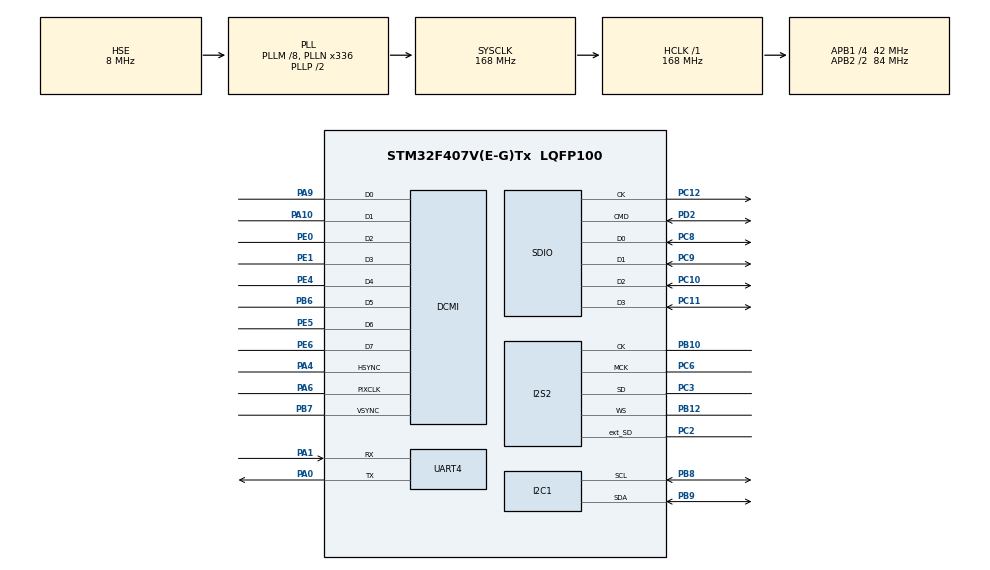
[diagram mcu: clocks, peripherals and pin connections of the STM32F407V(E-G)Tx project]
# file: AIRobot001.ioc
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Dma.Request0=SDIO_RX
Dma.Request1=SDIO_TX
Dma.SDIO_RX.0.Direction=DMA_PERIPH_TO_MEMORY
Dma.SDIO_RX.0.FIFOMode=DMA_FIFOMODE_ENABLE
Dma.SDIO_RX.0.FIFOThreshold=DMA_FIFO_THRESHOLD_FULL
Dma.SDIO_RX.0.Instance=DMA2_Stream3
Dma.SDIO_RX.0.MemBurst=DMA_MBURST_INC4
Dma.SDIO_RX.0.MemDataAlignment=DMA_MDATAALIGN_WORD
Dma.SDIO_RX.0.MemInc=DMA_MINC_ENABLE
Dma.SDIO_RX.0.Mode=DMA_PFCTRL
Dma.SDIO_RX.0.PeriphBurst=DMA_PBURST_INC4
Dma.SDIO_RX.0.PeriphDataAlignment=DMA_PDATAALIGN_WORD
Dma.SDIO_RX.0.PeriphInc=DMA_PINC_DISABLE
Dma.SDIO_RX.0.Priority=DMA_PRIORITY_LOW
Dma.SDIO_TX.1.Direction=DMA_MEMORY_TO_PERIPH
Dma.SDIO_TX.1.FIFOMode=DMA_FIFOMODE_ENABLE
Dma.SDIO_TX.1.FIFOThreshold=DMA_FIFO_THRESHOLD_FULL
Dma.SDIO_TX.1.Instance=DMA2_Stream6
Dma.SDIO_TX.1.MemBurst=DMA_MBURST_INC4
Dma.SDIO_TX.1.MemDataAlignment=DMA_MDATAALIGN_WORD
Dma.SDIO_TX.1.MemInc=DMA_MINC_ENABLE
Dma.SDIO_TX.1.Mode=DMA_PFCTRL
Dma.SDIO_TX.1.PeriphBurst=DMA_PBURST_INC4
Dma.SDIO_TX.1.PeriphDataAlignment=DMA_PDATAALIGN_WORD
Dma.SDIO_TX.1.PeriphInc=DMA_PINC_DISABLE
Dma.SDIO_TX.1.Priority=DMA_PRIORITY_LOW
FATFS._CODE_PAGE=936
FATFS._USE_LFN=2
FREERTOS.Tasks01=defaultTask,24,256,StartDefaultTask,Default,NULL,Dynamic,NULL,NULL
FREERTOS.configMINIMAL_STACK_SIZE=256
FREERTOS.configTOTAL_HEAP_SIZE=32768
I2S2.ErrorAudioFreq=-0.27 %
I2S2.FullDuplexMode=I2S_FULLDUPLEXMODE_ENABLE
I2S2.Instance=SPI$Index
I2S2.RealAudioFreq=7.978 KHz
I2S2.VirtualMode=I2S_MODE_MASTER
Mcu.Family=STM32F4
Mcu.Name=STM32F407V(E-G)Tx
Mcu.Package=LQFP100
NVIC.DMA2_Stream3_IRQn=true\:5\:0\:false\:false\:true\:true\:false\:true
NVIC.DMA2_Stream6_IRQn=true\:5\:0\:false\:false\:true\:true\:false\:true
NVIC.PriorityGroup=NVIC_PRIORITYGROUP_4
NVIC.SDIO_IRQn=true\:5\:0\:false\:false\:true\:true\:true\:true
NVIC.TIM1_UP_TIM10_IRQn=true\:0\:0\:false\:false\:true\:false\:false\:true
NVIC.TimeBase=TIM1_UP_TIM10_IRQn
NVIC.TimeBaseIP=TIM1
PA0-WKUP.Mode=Asynchronous
PA0-WKUP.Signal=UART4_TX
PA1.Mode=Asynchronous
PA1.Signal=UART4_RX
PA10.Mode=Slave_8_bits_External_Synchro
PA10.Signal=DCMI_D1
PA4.Mode=Slave_8_bits_External_Synchro
PA4.Signal=DCMI_HSYNC
PA6.Mode=Slave_8_bits_External_Synchro
PA6.Signal=DCMI_PIXCLK
PA9.Mode=Slave_8_bits_External_Synchro
PA9.Signal=DCMI_D0
PB10.Mode=Full_Duplex_Master
PB10.Signal=I2S2_CK
PB12.Mode=Full_Duplex_Master
PB12.Signal=I2S2_WS
PB6.Mode=Slave_8_bits_External_Synchro
PB6.Signal=DCMI_D5
PB7.Mode=Slave_8_bits_External_Synchro
PB7.Signal=DCMI_VSYNC
PB8.Mode=I2C
PB8.Signal=I2C1_SCL
PB9.Mode=I2C
PB9.Signal=I2C1_SDA
PC10.Mode=SD_4_bits_Wide_bus
PC10.Signal=SDIO_D2
PC11.Mode=SD_4_bits_Wide_bus
PC11.Signal=SDIO_D3
PC12.Mode=SD_4_bits_Wide_bus
PC12.Signal=SDIO_CK
PC2.Mode=Full_Duplex_Master
PC2.Signal=I2S2_ext_SD
PC3.Mode=Full_Duplex_Master
PC3.Signal=I2S2_SD
PC6.Mode=Master_Clock_Activated
PC6.Signal=I2S2_MCK
PC8.Mode=SD_4_bits_Wide_bus
PC8.Signal=SDIO_D0
PC9.Mode=SD_4_bits_Wide_bus
PC9.Signal=SDIO_D1
PD2.Mode=SD_4_bits_Wide_bus
PD2.Signal=SDIO_CMD
PE0.Mode=Slave_8_bits_External_Synchro
PE0.Signal=DCMI_D2
PE1.Mode=Slave_8_bits_External_Synchro
PE1.Signal=DCMI_D3
PE4.Mode=Slave_8_bits_External_Synchro
PE4.Signal=DCMI_D4
PE5.Mode=Slave_8_bits_External_Synchro
PE5.Signal=DCMI_D6
PE6.Mode=Slave_8_bits_External_Synchro
PE6.Signal=DCMI_D7
PH0-OSC_IN.Mode=HSE-External-Oscillator
PH0-OSC_IN.Signal=RCC_OSC_IN
PH1-OSC_OUT.Mode=HSE-External-Oscillator
PH1-OSC_OUT.Signal=RCC_OSC_OUT
ProjectManager.HeapSize=0x1000
ProjectManager.StackSize=0x1000
ProjectManager.TargetToolchain=MDK-ARM V5
RCC.48MHZClocksFreq_Value=48000000
RCC.AHBFreq_Value=168000000
RCC.APB1CLKDivider=RCC_HCLK_DIV4
RCC.APB1Freq_Value=42000000
RCC.APB1TimFreq_Value=84000000
RCC.APB2CLKDivider=RCC_HCLK_DIV2
RCC.APB2Freq_Value=84000000
RCC.APB2TimFreq_Value=168000000
RCC.CortexFreq_Value=168000000
RCC.HCLKFreq_Value=168000000
RCC.HSE_VALUE=8000000
RCC.HSI_VALUE=16000000
RCC.LSE_VALUE=32768
RCC.PLLM=8
RCC.PLLN=336
RCC.PLLQ=7
RCC.PLLSourceVirtual=RCC_PLLSOURCE_HSE
RCC.SYSCLKFreq_VALUE=168000000
RCC.SYSCLKSource=RCC_SYSCLKSOURCE_PLLCLK
RCC.VCOOutputFreq_Value=336000000
UART4.VirtualMode=Asynchronous
VP_FATFS_VS_SDIO.Mode=SDIO
VP_FREERTOS_VS_CMSIS_V2.Mode=CMSIS_V2
VP_SYS_VS_tim1.Mode=TIM1
board=custom

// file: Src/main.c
/* USER CODE BEGIN Header */
/**
  ******************************************************************************
  * @file           : main.c
  * @brief          : Main program body
  ******************************************************************************
  * @attention
  *
  * <h2><center>&copy; Copyright (c) 2020 STMicroelectronics.
  * All rights reserved.</center></h2>
  *
  * This software component is licensed by ST under Ultimate Liberty license
  * SLA0044, the "License"; You may not use this file except in compliance with
  * the License. You may obtain a copy of the License at:
  *                             www.st.com/SLA0044
  *
  ******************************************************************************
  */
/* USER CODE END Header */

#include "main.h"
#include "cmsis_os.h"
#include "fatfs.h"

/* USER CODE BEGIN Includes */
#include <log.h>
#include <wm8978.h>
/* USER CODE END Includes */

DCMI_HandleTypeDef hdcmi;

I2C_HandleTypeDef hi2c1;

I2S_HandleTypeDef hi2s2;

SD_HandleTypeDef hsd;
DMA_HandleTypeDef hdma_sdio_rx;
DMA_HandleTypeDef hdma_sdio_tx;

UART_HandleTypeDef huart4;

/* Definitions for defaultTask */
osThreadId_t defaultTaskHandle;
const osThreadAttr_t defaultTask_attributes = {
  .name = "defaultTask",
  .priority = (osPriority_t) osPriorityNormal,
  .stack_size = 256 * 4
};
/* USER CODE BEGIN PV */
osThreadId audioTaskHandle;
const osThreadAttr_t audioTask_attributes = {
  .name = "audioTask",
  .priority = (osPriority_t) osPriorityNormal,
  .stack_size = 128 * 4
};
/* USER CODE END PV */

void SystemClock_Config(void);
static void MX_GPIO_Init(void);
static void MX_DMA_Init(void);
static void MX_SDIO_SD_Init(void);
static void MX_UART4_Init(void);
static void MX_DCMI_Init(void);
static void MX_I2S2_Init(void);
static void MX_I2C1_Init(void);
void StartDefaultTask(void *argument);

/* USER CODE BEGIN PFP */
void AudioTask(void *argument);
/* USER CODE END PFP */

int main(void)
{

  /* MCU Configuration--------------------------------------------------------*/

  /* Reset of all peripherals, Initializes the Flash interface and the Systick. */
  HAL_Init();

  /* Configure the system clock */
  SystemClock_Config();

  /* Initialize all configured peripherals */
  MX_GPIO_Init();
  MX_DMA_Init();
  MX_SDIO_SD_Init();
  MX_UART4_Init();
  MX_FATFS_Init();
  MX_DCMI_Init();
  MX_I2S2_Init();
  MX_I2C1_Init();

  /* Init scheduler */
  osKernelInitialize();

  /* Create the thread(s) */
  /* creation of defaultTask */
  defaultTaskHandle = osThreadNew(StartDefaultTask, NULL, &defaultTask_attributes);

  /* USER CODE BEGIN RTOS_THREADS */
  /* add threads, ... */
  audioTaskHandle = osThreadNew(AudioTask, NULL, &audioTask_attributes);
  /* USER CODE END RTOS_THREADS */

  /* Start scheduler */
  osKernelStart();

  /* We should never get here as control is now taken by the scheduler */
  /* Infinite loop */
  while (1)
  {

  }
}

void SystemClock_Config(void)
{
  RCC_OscInitTypeDef RCC_OscInitStruct = {0};
  RCC_ClkInitTypeDef RCC_ClkInitStruct = {0};
  RCC_PeriphCLKInitTypeDef PeriphClkInitStruct = {0};

  /** Configure the main internal regulator output voltage
  */
  __HAL_RCC_PWR_CLK_ENABLE();
  __HAL_PWR_VOLTAGESCALING_CONFIG(PWR_REGULATOR_VOLTAGE_SCALE1);
  /** Initializes the CPU, AHB and APB busses clocks
  */
  RCC_OscInitStruct.OscillatorType = RCC_OSCILLATORTYPE_HSE;
  RCC_OscInitStruct.HSEState = RCC_HSE_ON;
  RCC_OscInitStruct.PLL.PLLState = RCC_PLL_ON;
  RCC_OscInitStruct.PLL.PLLSource = RCC_PLLSOURCE_HSE;
  RCC_OscInitStruct.PLL.PLLM = 8;
  RCC_OscInitStruct.PLL.PLLN = 336;
  RCC_OscInitStruct.PLL.PLLP = RCC_PLLP_DIV2;
  RCC_OscInitStruct.PLL.PLLQ = 7;
  if (HAL_RCC_OscConfig(&RCC_OscInitStruct) != HAL_OK)
  {
    Error_Handler();
  }
  /** Initializes the CPU, AHB and APB busses clocks
  */
  RCC_ClkInitStruct.ClockType = RCC_CLOCKTYPE_HCLK|RCC_CLOCKTYPE_SYSCLK
                              |RCC_CLOCKTYPE_PCLK1|RCC_CLOCKTYPE_PCLK2;
  RCC_ClkInitStruct.SYSCLKSource = RCC_SYSCLKSOURCE_PLLCLK;
  RCC_ClkInitStruct.AHBCLKDivider = RCC_SYSCLK_DIV1;
  RCC_ClkInitStruct.APB1CLKDivider = RCC_HCLK_DIV4;
  RCC_ClkInitStruct.APB2CLKDivider = RCC_HCLK_DIV2;

  if (HAL_RCC_ClockConfig(&RCC_ClkInitStruct, FLASH_LATENCY_5) != HAL_OK)
  {
    Error_Handler();
  }
  PeriphClkInitStruct.PeriphClockSelection = RCC_PERIPHCLK_I2S;
  PeriphClkInitStruct.PLLI2S.PLLI2SN = 192;
  PeriphClkInitStruct.PLLI2S.PLLI2SR = 2;
  if (HAL_RCCEx_PeriphCLKConfig(&PeriphClkInitStruct) != HAL_OK)
  {
    Error_Handler();
  }
}

static void MX_DCMI_Init(void)
{

  hdcmi.Instance = DCMI;
  hdcmi.Init.SynchroMode = DCMI_SYNCHRO_HARDWARE;
  hdcmi.Init.PCKPolarity = DCMI_PCKPOLARITY_FALLING;
  hdcmi.Init.VSPolarity = DCMI_VSPOLARITY_LOW;
  hdcmi.Init.HSPolarity = DCMI_HSPOLARITY_LOW;
  hdcmi.Init.CaptureRate = DCMI_CR_ALL_FRAME;
  hdcmi.Init.ExtendedDataMode = DCMI_EXTEND_DATA_8B;
  hdcmi.Init.JPEGMode = DCMI_JPEG_DISABLE;
  if (HAL_DCMI_Init(&hdcmi) != HAL_OK)
  {
    Error_Handler();
  }

}

static void MX_I2C1_Init(void)
{

  hi2c1.Instance = I2C1;
  hi2c1.Init.ClockSpeed = 100000;
  hi2c1.Init.DutyCycle = I2C_DUTYCYCLE_2;
  hi2c1.Init.OwnAddress1 = 0;
  hi2c1.Init.AddressingMode = I2C_ADDRESSINGMODE_7BIT;
  hi2c1.Init.DualAddressMode = I2C_DUALADDRESS_DISABLE;
  hi2c1.Init.OwnAddress2 = 0;
  hi2c1.Init.GeneralCallMode = I2C_GENERALCALL_DISABLE;
  hi2c1.Init.NoStretchMode = I2C_NOSTRETCH_DISABLE;
  if (HAL_I2C_Init(&hi2c1) != HAL_OK)
  {
    Error_Handler();
  }

}

static void MX_I2S2_Init(void)
{

  hi2s2.Instance = SPI2;
  hi2s2.Init.Mode = I2S_MODE_MASTER_TX;
  hi2s2.Init.Standard = I2S_STANDARD_PHILIPS;
  hi2s2.Init.DataFormat = I2S_DATAFORMAT_16B;
  hi2s2.Init.MCLKOutput = I2S_MCLKOUTPUT_ENABLE;
  hi2s2.Init.AudioFreq = I2S_AUDIOFREQ_8K;
  hi2s2.Init.CPOL = I2S_CPOL_LOW;
  hi2s2.Init.ClockSource = I2S_CLOCK_PLL;
  hi2s2.Init.FullDuplexMode = I2S_FULLDUPLEXMODE_ENABLE;
  if (HAL_I2S_Init(&hi2s2) != HAL_OK)
  {
    Error_Handler();
  }

}

static void MX_SDIO_SD_Init(void)
{

  hsd.Instance = SDIO;
  hsd.Init.ClockEdge = SDIO_CLOCK_EDGE_RISING;
  hsd.Init.ClockBypass = SDIO_CLOCK_BYPASS_DISABLE;
  hsd.Init.ClockPowerSave = SDIO_CLOCK_POWER_SAVE_DISABLE;
  hsd.Init.BusWide = SDIO_BUS_WIDE_1B;
  hsd.Init.HardwareFlowControl = SDIO_HARDWARE_FLOW_CONTROL_DISABLE;
  hsd.Init.ClockDiv = 0;

}

static void MX_UART4_Init(void)
{

  huart4.Instance = UART4;
  huart4.Init.BaudRate = 115200;
  huart4.Init.WordLength = UART_WORDLENGTH_8B;
  huart4.Init.StopBits = UART_STOPBITS_1;
  huart4.Init.Parity = UART_PARITY_NONE;
  huart4.Init.Mode = UART_MODE_TX_RX;
  huart4.Init.HwFlowCtl = UART_HWCONTROL_NONE;
  huart4.Init.OverSampling = UART_OVERSAMPLING_16;
  if (HAL_UART_Init(&huart4) != HAL_OK)
  {
    Error_Handler();
  }

}

static void MX_DMA_Init(void)
{

  /* DMA controller clock enable */
  __HAL_RCC_DMA2_CLK_ENABLE();

  /* DMA interrupt init */
  /* DMA2_Stream3_IRQn interrupt configuration */
  HAL_NVIC_SetPriority(DMA2_Stream3_IRQn, 5, 0);
  HAL_NVIC_EnableIRQ(DMA2_Stream3_IRQn);
  /* DMA2_Stream6_IRQn interrupt configuration */
  HAL_NVIC_SetPriority(DMA2_Stream6_IRQn, 5, 0);
  HAL_NVIC_EnableIRQ(DMA2_Stream6_IRQn);

}

static void MX_GPIO_Init(void)
{

  /* GPIO Ports Clock Enable */
  __HAL_RCC_GPIOE_CLK_ENABLE();
  __HAL_RCC_GPIOH_CLK_ENABLE();
  __HAL_RCC_GPIOC_CLK_ENABLE();
  __HAL_RCC_GPIOA_CLK_ENABLE();
  __HAL_RCC_GPIOB_CLK_ENABLE();
  __HAL_RCC_GPIOD_CLK_ENABLE();

}

/* USER CODE BEGIN 4 */
void AudioTask(void *argument)
{
    LOG(EDEBUG, "WM8978_Init before");
    if (WM8978_Init()) {
        LOG(EDEBUG, "WM8978 error");
        return ;
    }
    LOG(EDEBUG, "WM8978_Init end");
    for(;;)
    {
        LOG(EINFO, "WM8978 success");
        osDelay(1000);
    }
}
/* USER CODE END 4 */

void StartDefaultTask(void *argument)
{
  /* USER CODE BEGIN 5 */
    /* Infinite loop */
    // 初始化文件系统
    retSD = f_mount(&SDFatFS, "", 1);

    HAL_SD_CardCIDTypeDef CID;
    HAL_StatusTypeDef s1 = HAL_SD_GetCardCID(&hsd, &CID);
    HAL_SD_CardCSDTypeDef CSD;
    HAL_StatusTypeDef s2 = HAL_SD_GetCardCSD(&hsd, &CSD);
    HAL_SD_CardStatusTypeDef status;
    HAL_StatusTypeDef s3 = HAL_SD_GetCardStatus(&hsd, &status);
    HAL_SD_CardInfoTypeDef cardInfo;
    HAL_StatusTypeDef s4 = HAL_SD_GetCardInfo(&hsd, &cardInfo);

    float fCardSize = 1.0*cardInfo.BlockNbr*cardInfo.BlockSize/1024/1024;

    LOG(EDEBUG, "Card Size:%.2f M", fCardSize);

    static uint8_t szWriteBuffer[] = "测试test";
    static uint8_t szReadBuffer[100];
    uint32_t iRead, iWriten;
    retSD = f_open(&SDFile, "sdcard.txt", FA_CREATE_ALWAYS | FA_WRITE);
    if (retSD) LOG(EERROR, "open error ,ret:%d", retSD);
    retSD = f_write(&SDFile, szWriteBuffer, sizeof(szWriteBuffer), &iWriten);
    if (retSD) LOG(EERROR, "write error ,ret:%d", retSD);
    f_close(&SDFile);

    retSD = f_open(&SDFile, "sdcard.txt", FA_READ);
    if (retSD) LOG(EERROR, "open error ,ret:%d", retSD);
    retSD = f_read(&SDFile, szReadBuffer, sizeof(szReadBuffer), &iRead);
    if (retSD) LOG(EERROR, "read error ,ret:%d", retSD);
    if (iWriten != iRead) LOG(EERROR, "fatfs test errord")
    else LOG(EERROR, "fatfs test ok");
    f_close(&SDFile);

    for(;;)
    {
        LOG(EINFO, "default task");
        osDelay(1000);
    }
  /* USER CODE END 5 */
}

 /**
  * @brief  Period elapsed callback in non blocking mode
  * @note   This function is called  when TIM1 interrupt took place, inside
  * HAL_TIM_IRQHandler(). It makes a direct call to HAL_IncTick() to increment
  * a global variable "uwTick" used as application time base.
  * @param  htim : TIM handle
  * @retval None
  */
void HAL_TIM_PeriodElapsedCallback(TIM_HandleTypeDef *htim)
{
  if (htim->Instance == TIM1) {
    HAL_IncTick();
  }
}

void Error_Handler(void)
{
}

/************************ (C) COPYRIGHT STMicroelectronics *****END OF FILE****/
